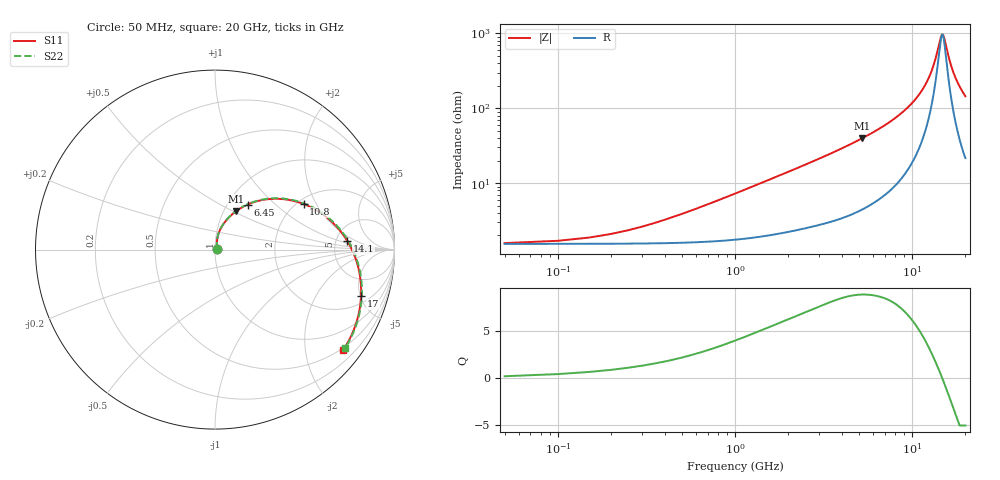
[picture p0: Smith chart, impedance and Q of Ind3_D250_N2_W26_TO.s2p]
#  Hz  S  RI  R  50
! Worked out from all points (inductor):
!   400 points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, 50 MHz to 20 GHz, reference 50 ohm
!   read as 1/Y11, port 2 shorted: L = 1.11 nH near 750 MHz
!   highest Q = 8.91 at 5.2 GHz (marker M1), where L = 1.2 nH
!   self-resonance near 14.82 GHz
!   S11 on the Smith chart (normalised r, x): 50 MHz: 1.02, +0.00; 6.45 GHz: 1.23, +0.69; 10.8 GHz: 2.15, +1.58; 14.1 GHz: 6.35, +1.35; 17 GHz: 2.68, -5.10; 20 GHz: 0.45, -2.85
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5e7  0.0099 0.00194  0.9796 -0.0049  0.9796 -0.0049  0.00987 0.00195
5e8  0.00993 0.0197  0.9762 -0.0485  0.9762 -0.0485  0.00989 0.0197
7e8  0.0101 0.0278  0.9731 -0.0672  0.9731 -0.0672  0.01 0.0279
1e9  0.0106 0.0406  0.9671 -0.0943  0.9671 -0.0943  0.0105 0.0407
1.3e9  0.0118 0.0539  0.9598 -0.1199  0.9598 -0.1199  0.0118 0.0541
2.2e9  0.0221 0.096  0.9352 -0.1899  0.9352 -0.1899  0.022 0.0963
3.4e9  0.0516 0.149  0.8987 -0.2779  0.8986 -0.2779  0.0513 0.1496
5.2e9  0.1188 0.215  0.82 -0.4049  0.82 -0.4049  0.1183 0.2161
6.45e9  0.1814 0.2512  0.7467 -0.4824  0.7467 -0.4824  0.1807 0.2528
6.7e9  0.1957 0.2571  0.7303 -0.4967  0.7303 -0.4966  0.1949 0.2589
8.5e9  0.3131 0.2824  0.5946 -0.5825  0.5945 -0.5825  0.3121 0.2852
1.005e10  0.4321 0.2727  0.4559 -0.6237  0.4559 -0.6236  0.4312 0.2766
1.08e10  0.4934 0.2542  0.3843 -0.6297  0.3843 -0.6296  0.4926 0.2588
1.21e10  0.5989 0.1976  0.2589 -0.6152  0.2589 -0.6151  0.5986 0.2033
1.335e10  0.6907 0.1127  0.1456 -0.5697  0.1457 -0.5696  0.6913 0.1195
1.41e10  0.7369 0.0484  0.0859 -0.5286  0.086 -0.5285  0.7381 0.0559
1.54e10  0.7935 -0.0817  0.00405 -0.4386  0.00409 -0.4385  0.7961 -0.0734
1.67e10  0.8142 -0.2245  -0.0448 -0.3343  -0.0447 -0.3343  0.8185 -0.2156
1.7e10  0.8137 -0.2577  -0.051 -0.3097  -0.051 -0.3096  0.8184 -0.2488
1.875e10  0.7748 -0.4433  -0.0529 -0.1742  -0.0529 -0.1741  0.7818 -0.4345
1.945e10  0.744 -0.5098  -0.0405 -0.1271  -0.0405 -0.1271  0.7521 -0.5012
2e10  0.7153 -0.5576  -0.0268 -0.0937  -0.0268 -0.0937  0.724 -0.5493
